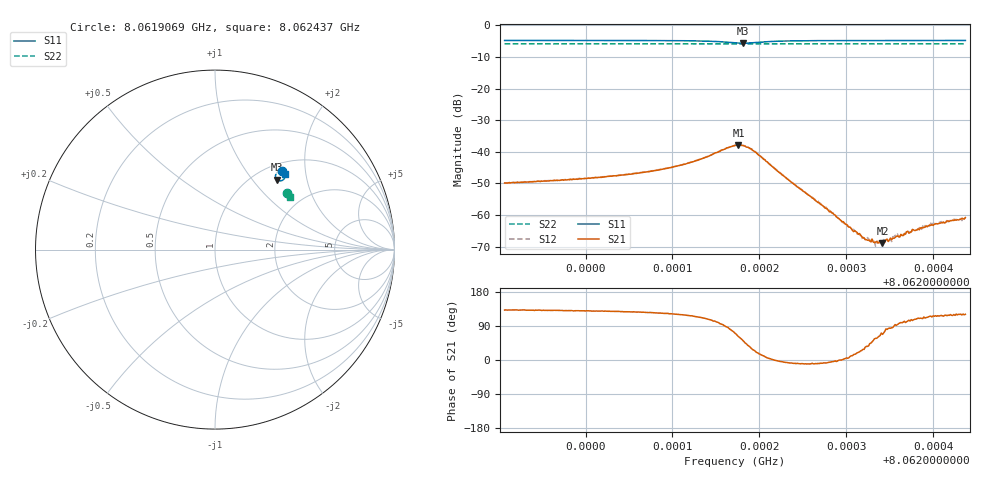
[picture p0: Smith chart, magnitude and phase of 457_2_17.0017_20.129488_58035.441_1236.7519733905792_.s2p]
#  HZ  S  RI  R  50.00
! Rohde & Schwarz Vector Network Analyzer
! Rohde-Schwarz,ZNB20-2Port,1311601062101988,3.16
! Created: UTC 3/20/2024, 11:12:37 PM
! freq[Hz]  re:S11  im:S11  re:S21  im:S21  re:S12  im:S12  re:S22  im:S22
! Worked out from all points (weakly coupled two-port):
!   401 points, 8.0619069 GHz to 8.062437 GHz, reference 50 ohm
!   highest |S21| = -37.89 dB at 8.0621759 GHz (marker M1); lowest = -68.9 dB at 8.0623416 GHz (marker M2)
!   lowest |S11| = -5.7 dB at 8.0621812 GHz (marker M3), VSWR 3.17, Z = 62.8 + j67.2 ohm
!   |S11| at or under -10 dB: nowhere
!   |S22| runs from -5.9 to -5.8 dB; largest |S21 - S12| = 0.00092
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8.06190692e9  0.371 0.4407  -0.00214 0.0024  -0.00201 0.00253  0.4003 0.3167
8.06199571e9  0.3776 0.4346  -0.0024 0.00286  -0.00225 0.00304  0.4036 0.3121
8.06204473e9  0.3817 0.4301  -0.00263 0.00344  -0.00246 0.00361  0.4054 0.3097
8.06208449e9  0.3855 0.4244  -0.00288 0.0043  -0.00267 0.00449  0.4069 0.3076
8.06212292e9  0.3893 0.4143  -0.00306 0.00619  -0.00266 0.00643  0.4081 0.3052
8.06215339e9  0.3855 0.3952  -0.00143 0.00991  -0.000751 0.0102  0.4088 0.303
8.06217194e9  0.3628 0.3828  0.0042 0.0119  0.00488 0.0118  0.4082 0.3018
8.06217592e9  0.355 0.3843  0.00602 0.0112  0.00659 0.011  0.4081 0.3018
8.06218122e9  0.3453 0.3899  0.00793 0.00982  0.00848 0.00936  0.4078 0.3019
8.06219447e9  0.3373 0.4136  0.00912 0.00422  0.00954 0.00362  0.4083 0.3025
8.06223157e9  0.3612 0.4354  0.00374 -0.000427  0.00375 -0.000699  0.4109 0.3015
8.06226073e9  0.3713 0.4346  0.00184 -0.000282  0.00186 -0.000454  0.4124 0.2998
8.06232036e9  0.3815 0.4301  0.000386 0.000205  0.000386 0.000196  0.4147 0.2965
8.06232698e9  0.3822 0.4298  0.000283 0.000267  0.000324 0.000247  0.4149 0.2961
8.06233361e9  0.3829 0.4293  0.000202 0.000313  0.000235 0.00022  0.4152 0.2959
8.06234156e9  0.3839 0.4287  0.000137 0.000332  0.000135 0.000349  0.4155 0.2954
8.06234553e9  0.3842 0.4284  5.66e-05 0.000403  0.000144 0.000378  0.4156 0.2952
8.06234951e9  0.3845 0.4281  4.04e-05 0.000403  7.73e-05 0.000388  0.4157 0.2952
8.06235613e9  0.3852 0.4277  -2.68e-05 0.00044  -9.39e-06 0.000477  0.416 0.2948
8.06236408e9  0.3858 0.4272  -6.87e-05 0.00047  -6.72e-05 0.000459  0.4163 0.2943
8.06239456e9  0.3885 0.4253  -0.000277 0.000619  -0.000259 0.000663  0.4173 0.2927
8.06243696e9  0.3917 0.4226  -0.000464 0.000785  -0.000418 0.000798  0.4188 0.2905
